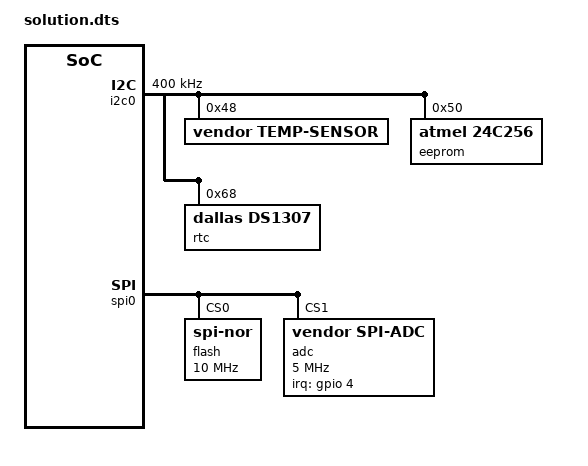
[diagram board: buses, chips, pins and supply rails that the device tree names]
/dts-v1/;

/ {
    compatible = "myboard";
    #address-cells = <2>;
    #size-cells = <1>;

    soc {
        #address-cells = <2>;
        #size-cells = <1>;
        ranges;

        gpio: gpio@7e200000 {
            compatible = "vendor,gpio";
            reg = <0x0 0x7e200000 0x1000>;
            gpio-controller;
            #gpio-cells = <2>;
            interrupt-controller;
            #interrupt-cells = <2>;
        };

        i2c0: i2c@7e205000 {
            compatible = "vendor,i2c-controller";
            reg = <0x0 0x7e205000 0x1000>;
            status = "okay";
            #address-cells = <1>;
            #size-cells = <0>;
            clock-frequency = <400000>;
            i2c-sda-hold-time-ns = <300>;
            i2c-sda-setup-time-ns = <100>;

            temp-sensor@48 {
                compatible = "vendor,temp-sensor";
                reg = <0x48>;
                resolution-bits = <12>;
            };

            eeprom@50 {
                compatible = "atmel,24c256";
                reg = <0x50>;
                size = <32768>;
                pagesize = <64>;
            };

            rtc@68 {
                compatible = "dallas,ds1307";
                reg = <0x68>;
                status = "okay";
                backup-power-supply;
            };
        };

        spi0: spi@7e204000 {
            compatible = "vendor,spi-controller";
            reg = <0x0 0x7e204000 0x1000>;
            status = "okay";
            #address-cells = <1>;
            #size-cells = <0>;
            spi-max-frequency = <10000000>;
            interrupt-parent = <&gpio>;
            interrupts = <4 2>;

            flash@0 {
                compatible = "jedec,spi-nor";
                reg = <0>;
                spi-max-frequency = <10000000>;
                spi-rx-bus-width = <1>;
                spi-tx-bus-width = <1>;
                size = <0x400000>;
            };

            adc@1 {
                compatible = "vendor,spi-adc";
                reg = <1>;
                spi-max-frequency = <5000000>;
                interrupt-parent = <&gpio>;
                interrupts = <4 2>;
                #io-channel-cells = <1>;
                channels = <8>;
            };
        };
    };
};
